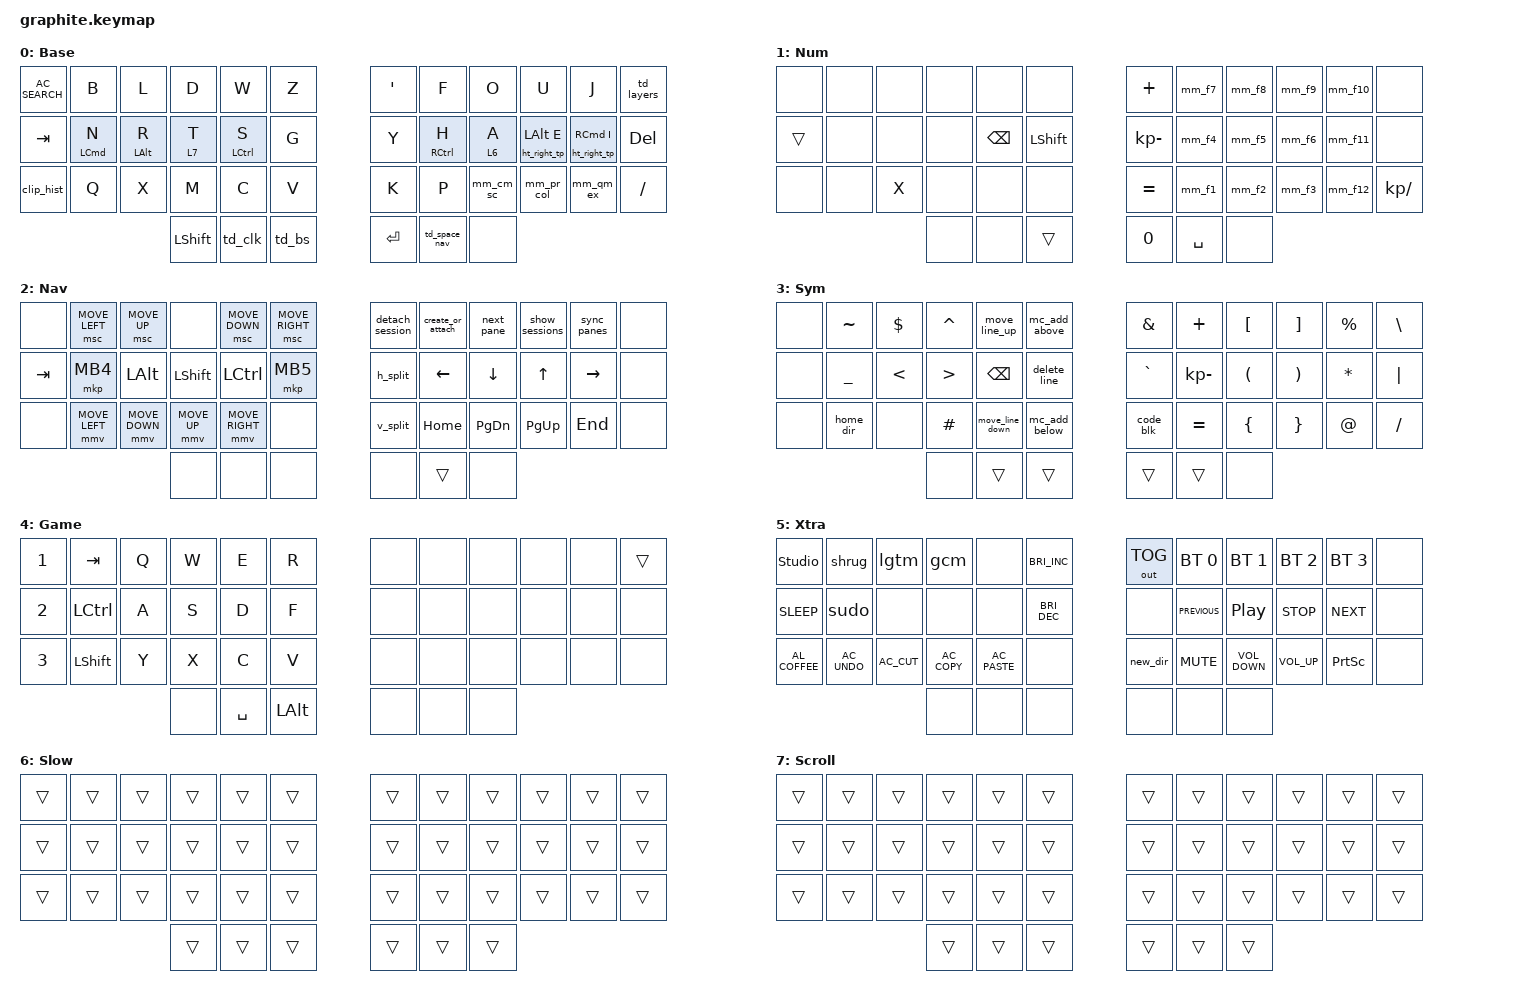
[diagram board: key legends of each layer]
/* upstream bindings and behaviors */
#include <behaviors.dtsi>
#include <dt-bindings/zmk/bt.h>
#include <dt-bindings/zmk/keys.h>
#include <dt-bindings/zmk/mouse.h>
#include <dt-bindings/zmk/outputs.h>
#include <behaviors/mouse_keys.dtsi>
#include <dt-bindings/zmk/ext_power.h>

/* local overlays */
#include "keymap_features/macros.dtsi"
#include "keymap_features/behaviors.dtsi"
#include "keymap_features/combos.dtsi"

/ {
/* --- KEYMAP CONFIG --- */
// ╭──────┬──────┬──────┬──────┬──────┬──────╮  ╭──────┬──────┬──────┬──────┬──────┬──────╮
//    00     01     02     03    04      05        06     07     08     09     10     11
// ├──────┼──────┼──────┼──────┼──────┼──────┤  ├──────┼──────┼──────┼──────┼──────┼──────┤
//    12     13     14     15    16      17        18     19     20     21     22     23
// ├──────┼──────┼──────┼──────┼──────┼──────┤  ├──────┼──────┼──────┼──────┼──────┼──────┤
//    24     25     26     27    28      29        30     31     32     33     34     35
// ╰──────┴──────┴──────┼──────┼──────┼──────┤  ├──────┼──────┼──────┴──────┴──────┴──────╯
//                         36     37     38        39     40     41
//                      ╰──────┴──────┴──────╯  ╰──────┴──────┴──────╯
// #define BASE    0
// #define NUM     1
// #define NAV     2
// #define SYM     3
// #define GAME    4
// #define EXTRAS  5
// #define SLOW    6
// #define SCROLL  7

    keymap {
        compatible = "zmk,keymap";
        BASE {
            display-name = "Base";
            bindings = <
// ╭───────────────┬────────────────┬────────────────┬─────────────────┬─────────────────┬──────╮  ╭──────┬──────────────────┬──────────────────┬─────────────────┬─────────────────┬─────────────╮
    &kp C_AC_SEARCH  &kp B            &kp L            &kp D             &kp W             &kp Z    &kp SQT   &kp F              &kp O              &kp U             &kp J           &td_layers
// ├───────────────┼────────────────┼────────────────┼─────────────────┼─────────────────┼──────┤  ├──────┼──────────────────┼──────────────────┼─────────────────┼─────────────────┼─────────────┤
    &kp TAB          &ht_left LCMD N  &ht_left LALT R  &lt 7 T            &ht_left LCTRL S  &kp G    &kp Y   &ht_right RCTRL H  &lt 6 A              &ht_right_tp LALT E  &ht_right_tp RCMD I   &kp DEL
// ├───────────────┼────────────────┼────────────────┼─────────────────┼─────────────────┼──────┤  ├──────┼──────────────────┼──────────────────┼─────────────────┼─────────────────┼─────────────┤
    &clip_hist       &kp Q            &kp X            &kp M             &kp C             &kp V    &kp K   &kp P              &mm_cm_sc          &mm_pr_col        &mm_qm_ex          &kp FSLH
// ╰───────────────┴────────────────┴────────────────┼─────────────────┼─────────────────┼──────┤  ├──────┼──────────────────┼──────────────────┴─────────────────┴─────────────────┴─────────────╯
                                                       &kp LSHIFT        &td_clk          &td_bs    &kp ENTER  &td_space_nav   &none
                                                         // ╰──────────────────┴─────────┴──────╯  ╰──────────┴──────────────┴──────╯
            >;
        };

        NUM {
            display-name = "Num";
            bindings = <
&none   &none  &none   &none  &none          &none            &kp PLUS     &mm_f7             &mm_f8             &mm_f9             &mm_f10            &none
&trans   &none  &none  &none  &kp BACKSPACE  &kp LSHIFT       &kp KP_MINUS &mm_f4             &mm_f5             &mm_f6             &mm_f11            &none
&none    &none  &kp X  &none  &none          &none            &kp EQUAL    &mm_f1             &mm_f2             &mm_f3             &mm_f12            &kp KP_SLASH
                       &none  &none          &trans           &kp N0       &kp SPACE          &none
            >;
        };

        NAV {
            display-name = "Nav";
            bindings = <
&none    &msc MOVE_LEFT  &msc MOVE_UP    &none        &msc MOVE_DOWN  &msc MOVE_RIGHT     &detach_session  &create_or_attach  &next_pane   &show_sessions  &sync_panes       &none
&kp TAB  &mkp MB4        &kp LALT        &kp LSHFT    &kp LCTRL       &mkp MB5            &h_split         &kp LEFT_ARROW     &kp DOWN     &kp UP          &kp RIGHT_ARROW   &none
&none    &mmv MOVE_LEFT  &mmv MOVE_DOWN  &mmv MOVE_UP &mmv MOVE_RIGHT &none               &v_split         &kp HOME           &kp PG_DN    &kp PG_UP       &kp END           &none
                                                      &none   &none   &none               &none            &trans             &none
            >;
        };

        SYM {
            display-name = "Sym";
            bindings = <
&none  &kp TILDE  &kp DLLR  &kp CARET  &move_line_up    &mc_add_above      &kp AMPS   &kp PLUS     &kp LBKT  &kp RBKT  &kp PRCNT  &kp BSLH
&none  &kp UNDER  &kp LT    &kp GT     &kp BACKSPACE    &delete_line       &kp GRAVE  &kp KP_MINUS &kp LPAR  &kp RPAR  &kp ASTRK  &kp PIPE
&none  &home_dir  &none     &kp HASH   &move_line_down  &mc_add_below      &code_blk  &kp EQUAL    &kp LBRC  &kp RBRC  &kp AT     &kp FSLH
                                       &none  &trans     &trans            &trans     &trans       &none
            >;
        };

        GAME {
            display-name = "Game";
            bindings = <
&kp N1  &kp TAB    &kp Q  &kp W   &kp E      &kp R           &none  &none  &none  &none  &none  &trans
&kp N2  &kp LCTRL  &kp A  &kp S   &kp D      &kp F           &none  &none  &none  &none  &none  &none
&kp N3  &kp LSHFT  &kp Y  &kp X   &kp C      &kp V           &none  &none  &none  &none  &none  &none
                          &none   &kp SPACE  &kp LEFT_ALT    &none  &none  &none
            >;
        };

        EXTRAS {
            display-name = "Xtra";
            bindings = <
&studio_unlock    &shrug          &lgtm           &gcm            &none           &kp C_BRIGHTNESS_INC    &out OUT_TOG  &bt BT_SEL 0    &bt BT_SEL 1       &bt BT_SEL 2      &bt BT_SEL 3     &none
&kp C_SLEEP       &sudo           &none           &none           &none           &kp C_BRIGHTNESS_DEC    &none         &kp C_PREVIOUS  &kp C_PLAY_PAUSE   &kp C_STOP        &kp C_NEXT       &none
&kp C_AL_COFFEE   &kp C_AC_UNDO   &kp C_AC_CUT    &kp C_AC_COPY   &kp C_AC_PASTE  &none                   &new_dir      &kp K_MUTE      &kp C_VOLUME_DOWN  &kp C_VOLUME_UP   &kp PRINTSCREEN  &none
                                                                                   &none  &none  &none    &none         &none           &none
            >;
        };

        SLOW {
            display-name = "Slow";
            bindings = <
// ╭────────┬────────┬────────┬────────┬────────┬────────╮  ╭────────┬────────┬────────┬────────┬────────┬────────╮
    &trans    &trans   &trans   &trans   &trans   &trans      &trans   &trans   &trans   &trans   &trans   &trans
// ├────────┼────────┼────────┼────────┼────────┼────────┤  ├────────┼────────┼────────┼────────┼────────┼────────┤
    &trans    &trans   &trans   &trans   &trans   &trans      &trans   &trans   &trans   &trans   &trans   &trans
// ├────────┼────────┼────────┼────────┼────────┼────────┤  ├────────┼────────┼────────┼────────┼────────┼────────┤
    &trans    &trans   &trans   &trans   &trans   &trans      &trans   &trans   &trans   &trans   &trans   &trans
// ╰────────┴────────┴────────┼────────┼────────┼────────┤  ├────────┼────────┼────────┴────────┴────────┴────────╯
                                &trans   &trans   &trans      &trans   &trans   &trans
                           // ╰────────┴────────┴────────╯  ╰────────┴────────┴────────╯
            >;
        };

        SCROLL {
            display-name = "Scroll";
            bindings = <
// ╭────────┬────────┬────────┬────────┬────────┬────────╮  ╭────────┬────────┬────────┬────────┬────────┬────────╮
    &trans    &trans   &trans   &trans   &trans   &trans      &trans   &trans   &trans   &trans   &trans   &trans
// ├────────┼────────┼────────┼────────┼────────┼────────┤  ├────────┼────────┼────────┼────────┼────────┼────────┤
    &trans    &trans   &trans   &trans   &trans   &trans      &trans   &trans   &trans   &trans   &trans   &trans
// ├────────┼────────┼────────┼────────┼────────┼────────┤  ├────────┼────────┼────────┼────────┼────────┼────────┤
    &trans    &trans   &trans   &trans   &trans   &trans      &trans   &trans   &trans   &trans   &trans   &trans
// ╰────────┴────────┴────────┼────────┼────────┼────────┤  ├────────┼────────┼────────┴────────┴────────┴────────╯
                                &trans   &trans   &trans      &trans   &trans   &trans
                           // ╰────────┴────────┴────────╯  ╰────────┴────────┴────────╯
            >;
        };
    };
};
